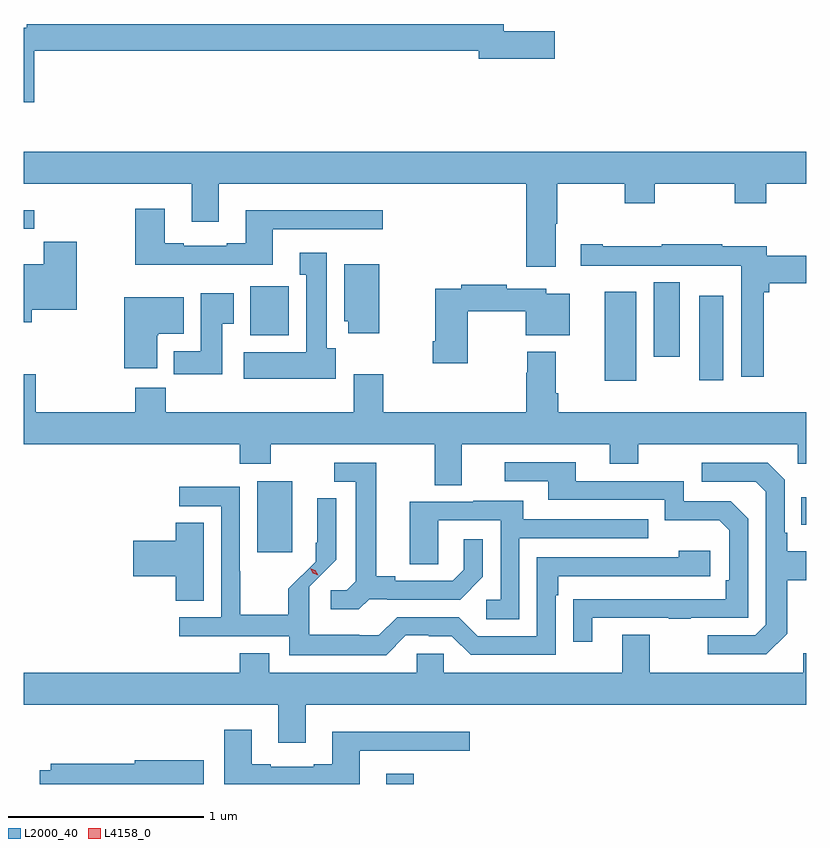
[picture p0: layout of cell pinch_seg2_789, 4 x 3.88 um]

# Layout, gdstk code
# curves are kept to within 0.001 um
import gdstk
lib = gdstk.Library(unit=1e-6, precision=1e-09)
def R(c, l, rs):  # rectangles x0, y0, x1, y1
    for r in rs: c.add(gdstk.rectangle(r[:2], r[2:], *l))
def P(c, l, *ps):  # polygons
    for p in ps: c.add(gdstk.Polygon(p, *l))
L2000_40 = (2000, 40)
L4158_0 = (4158, 0)

pinch_seg2_789 = lib.new_cell('pinch_seg2_789')
R(pinch_seg2_789, L2000_40, [(673.475,617.928,673.615,617.98), (672.815,619.112,672.994,619.474), (675.595,619.253,675.621,619.393), (674.591,619.989,674.752,620.443), (675.074,619.992,675.196,620.422), (674.84,620.112,674.974,620.492), (672.779,620.222,672.975,620.473), (671.621,620.765,671.676,620.86)])
P(pinch_seg2_789, L2000_40, [(671.675,621.676),(673.946,621.676),(673.946,621.634),(674.335,621.634),(674.335,621.776),(674.074,621.776),(674.074,621.812),(671.638,621.812),(671.638,621.792),(671.621,621.792),(671.621,621.411),(671.675,621.411)],
  [(674.341,620.792),(674.349,620.792),(674.349,620.996),(674.692,620.996),(674.692,620.897),(674.847,620.897),(674.847,620.996),(675.256,620.996),(675.256,620.897),(675.416,620.897),(675.416,620.996),(675.621,620.996),(675.621,621.16),(671.621,621.16),(671.621,620.996),(672.479,620.996),(672.479,620.802),(672.619,620.802),(672.619,620.996),(674.189,620.996),(674.189,620.571),(674.341,620.571)],
  [(672.895,620.763),(673.456,620.763),(673.456,620.86),(672.755,620.86),(672.755,620.692),(672.659,620.692),(672.659,620.679),(672.439,620.679),(672.439,620.692),(672.343,620.692),(672.343,620.869),(672.191,620.869),(672.191,620.582),(672.895,620.582)],
  [(671.662,620.351),(671.892,620.351),(671.892,620.7),(671.723,620.7),(671.723,620.584),(671.621,620.584),(671.621,620.288),(671.662,620.288)],
  [(675.404,620.441),(675.431,620.441),(675.431,620.486),(675.621,620.486),(675.621,620.628),(675.418,620.628),(675.418,620.676),(675.191,620.676),(675.191,620.686),(674.881,620.686),(674.881,620.676),(674.581,620.676),(674.581,620.686),(674.469,620.686),(674.469,620.576),(674.744,620.576),(674.744,620.577),(675.078,620.577),(675.078,620.576),(675.288,620.576),(675.288,620.01),(675.404,620.01)],
  [(673.216,620.154),(673.171,620.154),(673.171,620.644),(673.031,620.644),(673.031,620.531),(673.064,620.531),(673.064,620.134),(672.747,620.134),(672.747,620),(673.216,620)],
  [(673.438,620.584),(673.259,620.584),(673.259,620.292),(673.28,620.292),(673.28,620.232),(673.438,620.232)],
  [(673.89,620.344),(674.186,620.344),(674.186,620.222),(674.413,620.222),(674.413,620.434),(674.292,620.434),(674.292,620.46),(674.09,620.46),(674.09,620.48),(673.858,620.48),(673.858,620.46),(673.724,620.46),(673.724,620.191),(673.712,620.191),(673.712,620.079),(673.89,620.079)],
  [(672.637,620.281),(672.694,620.281),(672.694,620.437),(672.527,620.437),(672.527,620.14),(672.389,620.14),(672.389,620.022),(672.637,620.022)],
  [(672.304,620.222),(672.31,620.222),(672.31,620.228),(672.439,620.228),(672.439,620.416),(672.134,620.416),(672.134,620.052),(672.304,620.052)],
  [(673.46,620.023),(673.307,620.023),(673.307,619.828),(672.347,619.828),(672.347,619.952),(672.191,619.952),(672.191,619.828),(671.684,619.828),(671.684,620.023),(671.621,620.023),(671.621,619.664),(672.725,619.664),(672.725,619.565),(672.885,619.565),(672.885,619.664),(673.721,619.664),(673.721,619.456),(673.861,619.456),(673.861,619.664),(674.615,619.664),(674.615,619.565),(674.763,619.565),(674.763,619.664),(675.576,619.664),(675.576,619.565),(675.621,619.565),(675.621,619.828),(674.354,619.828),(674.354,619.924),(674.341,619.924),(674.341,620.137),(674.194,620.137),(674.194,620.03),(674.189,620.03),(674.189,619.828),(673.46,619.828)],
  [(674.527,618.777),(674.917,618.777),(674.917,618.772),(675.029,618.772),(675.029,618.777),(675.324,618.777),(675.324,619.284),(675.234,619.374),(674.994,619.374),(674.994,619.476),(674.443,619.476),(674.443,619.572),(674.079,619.572),(674.079,619.476),(674.303,619.476),(674.303,619.38),(674.898,619.38),(674.898,619.277),(675.175,619.277),(675.228,619.224),(675.228,618.97),(675.208,618.97),(675.208,618.873),(674.431,618.872),(674.431,618.654),(674.527,618.654)],
  [(673.386,618.873),(673.48,618.873),(673.48,618.87),(673.852,618.87),(673.968,618.986),(673.968,619.18),(673.871,619.18),(673.871,619.023),(673.814,618.966),(673.519,618.966),(673.519,618.989),(673.423,618.989),(673.423,619.569),(673.209,619.569),(673.209,619.473),(673.319,619.473),(673.319,618.965),(673.272,618.918),(673.191,618.918),(673.191,618.821),(673.334,618.821)],
  [(675.523,618.697),(675.523,618.97),(675.621,618.97),(675.621,619.117),(675.523,619.117),(675.523,619.213),(675.51,619.213),(675.51,619.482),(675.423,619.569),(675.087,619.569),(675.087,619.473),(675.363,619.473),(675.414,619.422),(675.414,618.741),(675.36,618.687),(675.117,618.687),(675.117,618.591),(675.417,618.591)],
  [(673.575,618.687),(673.691,618.687),(673.691,618.684),(673.809,618.684),(673.905,618.588),(674.34,618.588),(674.34,618.893),(674.353,618.893),(674.353,618.99),(675.13,618.99),(675.13,619.12),(674.969,619.12),(674.969,619.086),(674.244,619.086),(674.244,618.684),(673.941,618.684),(673.845,618.78),(673.53,618.78),(673.437,618.687),(673.337,618.687),(673.337,618.691),(673.08,618.691),(673.08,618.936),(673.218,619.074),(673.218,619.388),(673.122,619.388),(673.122,619.16),(673.113,619.16),(673.113,619.065),(672.973,618.925),(672.973,618.793),(672.729,618.793),(672.729,619.016),(672.726,619.016),(672.726,619.446),(672.417,619.446),(672.417,619.347),(672.63,619.347),(672.63,618.78),(672.417,618.78),(672.417,618.684),(672.978,618.684),(672.978,618.587),(673.475,618.587)],
  [(674.154,619.185),(674.813,619.185),(674.813,619.281),(674.173,619.281),(674.173,619.375),(673.919,619.375),(673.919,619.371),(673.595,619.371),(673.595,619.051),(673.74,619.051),(673.74,619.275),(674.058,619.275),(674.058,618.87),(673.986,618.87),(673.986,618.769),(674.154,618.769)],
  [(672.541,619.262),(672.398,619.262),(672.398,619.172),(672.18,619.172),(672.18,618.989),(672.398,618.989),(672.398,618.865),(672.541,618.865)],
  [(673.063,618.332),(675.621,618.332),(675.621,618.595),(675.605,618.595),(675.605,618.496),(674.821,618.496),(674.821,618.691),(674.681,618.691),(674.681,618.496),(673.767,618.496),(673.767,618.594),(673.629,618.594),(673.629,618.496),(672.877,618.496),(672.877,618.595),(672.725,618.595),(672.725,618.496),(671.621,618.496),(671.621,618.332),(672.923,618.332),(672.923,618.138),(673.063,618.138)],
  [(673.339,618.099),(673.9,618.099),(673.9,618.196),(673.199,618.196),(673.199,618.028),(673.103,618.028),(673.103,618.015),(672.883,618.015),(672.883,618.028),(672.787,618.028),(672.787,618.205),(672.647,618.205),(672.647,617.928),(673.339,617.928)],
  [(672.541,618.049),(672.188,618.049),(672.188,618.031),(671.76,618.031),(671.76,617.998),(671.704,617.998),(671.704,617.928),(672.541,617.928)])
P(pinch_seg2_789, L4158_0, [(673.126,618.996),(673.099,619.006),(673.085,619.031),(673.085,619.031),(673.085,619.031),(673.112,619.021),(673.127,618.996),(673.127,618.996)])

lib.write_gds('pinch_seg2_789.gds')
